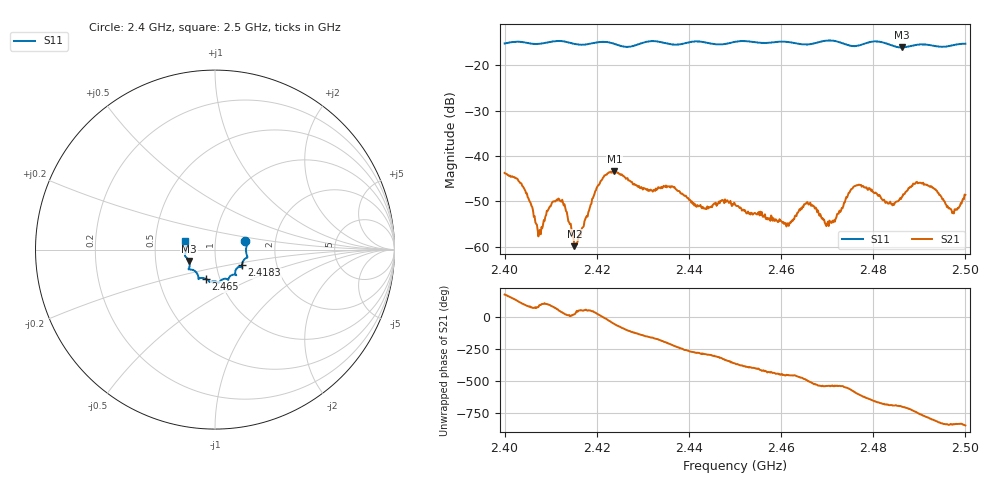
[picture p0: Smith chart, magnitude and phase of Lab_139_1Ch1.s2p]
# Hz S RI R 50
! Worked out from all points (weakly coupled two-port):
!   601 points, 2.4 GHz to 2.5 GHz, reference 50 ohm
!   highest |S21| = -43.33 dB at 2.4238 GHz (marker M1); lowest = -59.9 dB at 2.4152 GHz (marker M2)
!   lowest |S11| = -16.0 dB at 2.4862 GHz (marker M3), VSWR 1.37, Z = 37.1 - j4.81 ohm
!   |S11| at or under -10 dB: start of sweep to end of sweep
!   S12 and S22 are empty: the file has one direction only
!   S11 on the Smith chart (normalised r, x): 2.4 GHz: 1.40, +0.13; 2.4183 GHz: 1.33, -0.24; 2.465 GHz: 0.86, -0.29; 2.5 GHz: 0.71, +0.07
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2.4e9  0.1688 0.0458  -0.00649 0.00048  0 0  0 0
2.404e9  0.179 0.0268  -0.00102 0.00449  0 0  0 0
2.407667e9  0.1732 -0.0117  -0.000117 0.00152  0 0  0 0
2.412167e9  0.1812 -0.0427  0.00233 0.00214  0 0  0 0
2.415167e9  0.1642 -0.054  0.000936 0.000383  0 0  0 0
2.416667e9  0.1549 -0.0682  0.000947 0.00121  0 0  0 0
2.418333e9  0.1498 -0.0869  0.00156 0.00196  0 0  0 0
2.421167e9  0.152 -0.1005  0.00551 0.000276  0 0  0 0
2.423833e9  0.1439 -0.0963  0.00394 -0.00555  0 0  0 0
2.433333e9  0.1167 -0.1413  -0.0045 -0.00044  0 0  0 0
2.443333e9  0.0707 -0.1661  0.000825 0.0025  0 0  0 0
2.45e9  0.025 -0.1806  0.00293 -0.000115  0 0  0 0
2.461167e9  -0.0305 -0.1797  -1.03e-05 -0.00167  0 0  0 0
2.465e9  -0.0528 -0.1622  -0.00163 -0.00243  0 0  0 0
2.466667e9  -0.0714 -0.1576  -0.0026 -0.00129  0 0  0 0
2.47e9  -0.0922 -0.1641  -0.0018 -6.6e-05  0 0  0 0
2.476333e9  -0.1141 -0.1177  -0.00284 0.0038  0 0  0 0
2.483333e9  -0.1419 -0.0959  0.00248 0.00165  0 0  0 0
2.486167e9  -0.1447 -0.0632  0.00324 0.00133  0 0  0 0
2.490333e9  -0.1669 -0.0357  0.00394 -0.00319  0 0  0 0
2.4975e9  -0.165 0.0318  -0.00107 -0.00206  0 0  0 0
2.5e9  -0.167 0.0475  -0.00216 -0.00303  0 0  0 0
